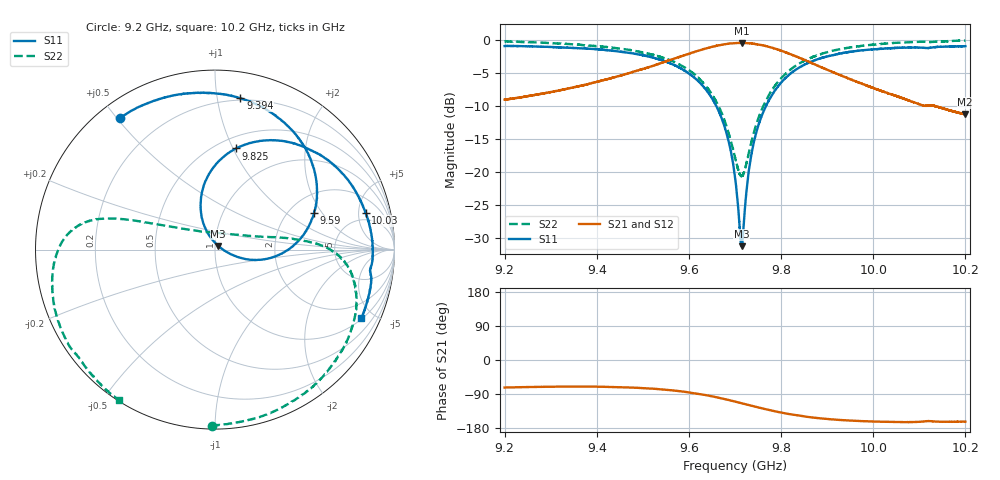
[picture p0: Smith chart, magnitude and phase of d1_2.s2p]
!Agilent Technologies,N5242A,MY51221714,A.09.90.19
!Agilent N5242A: A.09.90.19
!Date: Saturday, March 16, 2024 09:04:30
!Correction: S11(Full 2 Port(1,2))
!S21(Full 2 Port(1,2))
!S12(Full 2 Port(1,2))
!S22(Full 2 Port(1,2))
!S2P File: Measurements: S11, S21, S12, S22:
# Hz S  dB  R 50
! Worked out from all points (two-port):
!   16001 points, 9.2 GHz to 10.2 GHz, reference 50 ohm
!   highest |S21| = -0.41 dB at 9.715 GHz (marker M1); lowest = -11.3 dB at 10.2 GHz (marker M2)
!   |S21| within 3 dB of the highest: 9.542 GHz to 9.864 GHz (321.8 MHz wide, 3.32 % of centre); 9.864261 GHz to 9.864393 GHz (132 kHz wide, 0.00134 % of centre)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
!   lowest |S11| = -31.3 dB at 9.714 GHz (marker M3), VSWR 1.06, Z = 51.8 + j2.09 ohm
!   |S11| at or under -10 dB: 9.659 GHz to 9.767 GHz (107.9 MHz wide, 1.11 % of centre)
!   |S22| runs from -20.7 to 0.0 dB; largest |S21 - S12| = 0.011
!   S11 on the Smith chart (normalised r, x): 9.2 GHz: 0.06, +0.51; 9.394 GHz: 0.19, +1.17; 9.59 GHz: 2.71, +1.68; 9.825 GHz: 0.61, +1.03; 10.03 GHz: 3.76, +6.06; 10.2 GHz: 1.06, -4.25
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9.2e9  -0.89 125.7  -9.04 -72.7  -9.04 -73.1  -0.17 -91.1
9.277625e9  -0.98 108.4  -8.18 -70.9  -8.16 -71.4  -0.37 -69.6
9.366688e9  -1.24 87.5  -6.91 -70.2  -6.89 -70.7  -0.72 -45.9
9.394375e9  -1.36 80.4  -6.43 -70.3  -6.43 -70.9  -0.89 -38.7
9.533375e9  -2.87 40.5  -3.63 -76.7  -3.62 -77.2  -2.44 -8.1
9.590312e9  -4.61 20.1  -2.28 -83.8  -2.28 -84.3  -4.12 1.1
9.662188e9  -10.38 -9.4  -0.83 -99.0  -0.82 -99.4  -9.72 12.2
9.68475e9  -14.95 -17.2  -0.55 -105.2  -0.54 -105.7  -13.78 22.1
9.7e9  -20.72 -16.1  -0.44 -109.7  -0.43 -110.3  -17.81 41.0
9.714375e9  -31.29 47.6  -0.42 -114.2  -0.41 -114.7  -20.56 85.3
9.715312e9  -30.93 59.1  -0.41 -114.4  -0.41 -114.9  -20.56 89.2
9.731875e9  -18.86 114.4  -0.48 -119.5  -0.45 -120.1  -16.54 135.2
9.750062e9  -13.08 110.7  -0.66 -125.0  -0.64 -125.6  -11.97 150.7
9.781625e9  -8.19 97.4  -1.18 -133.9  -1.17 -134.5  -7.44 158.9
9.825438e9  -4.80 78.3  -2.27 -144.2  -2.28 -144.7  -4.20 163.7
9.866688e9  -3.23 62.0  -3.50 -151.5  -3.48 -152.0  -2.62 168.2
9.947438e9  -1.80 35.3  -5.85 -159.6  -5.85 -160.2  -1.13 -179.3
1.00265e10  -1.27 13.7  -7.92 -163.1  -7.92 -163.6  -0.52 -163.4
1.003338e10  -1.25 12.0  -8.10 -163.2  -8.09 -163.7  -0.48 -161.9
1.010569e10  -1.14 -5.5  -9.86 -162.7  -9.86 -163.2  -0.23 -145.9
1.019956e10  -0.92 -24.9  -11.28 -162.6  -11.27 -163.2  -0.05 -122.6
1.02e10  -0.91 -25.1  -11.28 -162.6  -11.28 -163.2  -0.05 -122.5
